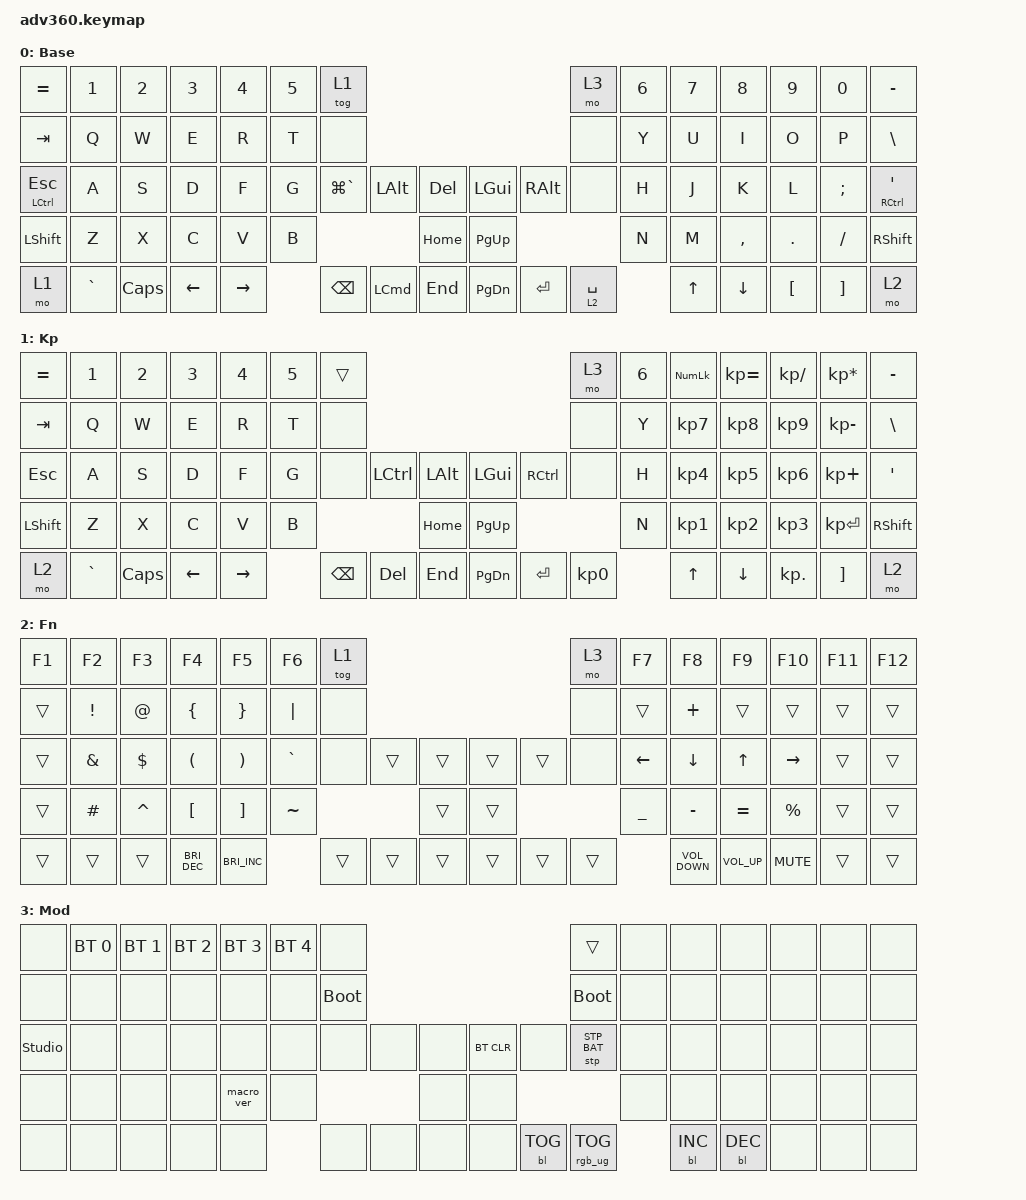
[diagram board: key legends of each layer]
#include <dt-bindings/zmk/stp.h>
#include <behaviors.dtsi>
#include <dt-bindings/zmk/backlight.h>
#include <dt-bindings/zmk/bt.h>
#include <dt-bindings/zmk/keys.h>
#include <dt-bindings/zmk/rgb.h>

&mt {
    tapping-term-ms = <210>;
    flavor = "tap-preferred";
};

&lt { quick-tap-ms = <200>; };

/ {
    behaviors {
        #include "macros.dtsi"
      #include "version.dtsi"

        hm: homerow_mods {
            compatible = "zmk,behavior-hold-tap";
            label = "HOMEROW_MODS";
            #binding-cells = <2>;
            tapping-term-ms = <200>;
            quick_tap_ms = <175>;
            flavor = "tap-preferred";
            bindings = <&kp>, <&kp>;
        };
    };

    combos {
        compatible = "zmk,combos";

        app-switcher {
            bindings = <&kp LG(TAB)>;
            key-positions = <32 31>;
            layers = <0>;
            timeout-ms = <40>;
            require-prior-idle-ms = <150>;
        };
    };

    keymap {
        compatible = "zmk,keymap";

        default_layer {
            display-name = "Base";
            bindings = <
&kp EQUAL             &kp N1     &kp N2    &kp N3    &kp N4     &kp N5  &tog 1                                                                     &mo 3        &kp N6  &kp N7  &kp N8     &kp N9    &kp N0    &kp MINUS
&kp TAB               &kp Q      &kp W     &kp E     &kp R      &kp T   &none                                                                      &none        &kp Y   &kp U   &kp I      &kp O     &kp P     &kp BSLH
&mt LEFT_CONTROL ESC  &kp A      &kp S     &kp D     &kp F      &kp G   &kp LG(GRAVE)  &kp LEFT_ALT      &kp DELETE      &kp LGUI   &kp RIGHT_ALT  &none        &kp H   &kp J   &kp K      &kp L     &kp SEMI  &mt RIGHT_CONTROL SINGLE_QUOTE
&kp LSHFT             &kp Z      &kp X     &kp C     &kp V      &kp B                                    &kp HOME        &kp PG_UP                              &kp N   &kp M   &kp COMMA  &kp DOT   &kp FSLH  &kp RSHFT
&mo 1                 &kp GRAVE  &kp CAPS  &kp LEFT  &kp RIGHT          &kp BSPC       &kp LEFT_COMMAND  &kp END         &kp PG_DN  &kp ENTER      &lt 2 SPACE          &kp UP  &kp DOWN   &kp LBKT  &kp RBKT  &mo 2
            >;
        };

        keypad {
            display-name = "Kp";
            bindings = <
&kp EQUAL  &kp N1     &kp N2    &kp N3    &kp N4     &kp N5  &trans                                                   &mo 3      &kp N6  &kp KP_NUM  &kp KP_EQUAL  &kp KP_DIVIDE  &kp KP_MULTIPLY  &kp MINUS
&kp TAB    &kp Q      &kp W     &kp E     &kp R      &kp T   &none                                                    &none      &kp Y   &kp KP_N7   &kp KP_N8     &kp KP_N9      &kp KP_MINUS     &kp BSLH
&kp ESC    &kp A      &kp S     &kp D     &kp F      &kp G   &none     &kp LCTRL  &kp LALT      &kp LGUI   &kp RCTRL  &none      &kp H   &kp KP_N4   &kp KP_N5     &kp KP_N6      &kp KP_PLUS      &kp SQT
&kp LSHFT  &kp Z      &kp X     &kp C     &kp V      &kp B                        &kp HOME      &kp PG_UP                        &kp N   &kp KP_N1   &kp KP_N2     &kp KP_N3      &kp KP_ENTER     &kp RSHFT
&mo 2      &kp GRAVE  &kp CAPS  &kp LEFT  &kp RIGHT          &kp BSPC  &kp DEL    &kp END       &kp PG_DN  &kp ENTER  &kp KP_N0          &kp UP      &kp DOWN      &kp KP_DOT     &kp RBKT         &mo 2
            >;
        };

        fn {
            display-name = "Fn";
            bindings = <
&kp F1  &kp F2         &kp F3      &kp F4                &kp F5                 &kp F6     &tog 1                                      &mo 3   &kp F7          &kp F8             &kp F9           &kp F10      &kp F11  &kp F12
&trans  &kp EXCL       &kp AT      &kp LEFT_BRACE        &kp RIGHT_BRACE        &kp PIPE   &none                                       &none   &trans          &kp PLUS           &trans           &trans       &trans   &trans
&trans  &kp AMPERSAND  &kp DOLLAR  &kp LEFT_PARENTHESIS  &kp RIGHT_PARENTHESIS  &kp GRAVE  &none   &trans  &trans      &trans  &trans  &none   &kp LEFT        &kp DOWN           &kp UP_ARROW     &kp RIGHT    &trans   &trans
&trans  &kp POUND      &kp CARET   &kp LEFT_BRACKET      &kp RIGHT_BRACKET      &kp TILDE                  &trans      &trans                  &kp UNDERSCORE  &kp MINUS          &kp EQUAL        &kp PERCENT  &trans   &trans
&trans  &trans         &trans      &kp C_BRIGHTNESS_DEC  &kp C_BRIGHTNESS_INC              &trans  &trans  &trans      &trans  &trans  &trans                  &kp C_VOLUME_DOWN  &kp C_VOLUME_UP  &kp C_MUTE   &trans   &trans
            >;
        };

        mod {
            display-name = "Mod";
            bindings = <
&none           &bt BT_SEL 0  &bt BT_SEL 1  &bt BT_SEL 2  &bt BT_SEL 3  &bt BT_SEL 4  &none                                                  &trans           &none  &none       &none       &none  &none  &none
&none           &none         &none         &none         &none         &none         &bootloader                                            &bootloader      &none  &none       &none       &none  &none  &none
&studio_unlock  &none         &none         &none         &none         &none         &none        &none  &none      &bt BT_CLR  &none       &stp STP_BAT     &none  &none       &none       &none  &none  &none
&none           &none         &none         &none         &macro_ver    &none                             &none      &none                                    &none  &none       &none       &none  &none  &none
&none           &none         &none         &none         &none                       &none        &none  &none      &none       &bl BL_TOG  &rgb_ug RGB_TOG         &bl BL_INC  &bl BL_DEC  &none  &none  &none
            >;
        };

        extra1 {
            display-name = "Red";
            status = "reserved";
        };

        extra2 {
            display-name = "Purple";
            status = "reserved";
        };

        extra3 {
            display-name = "Cyan";
            status = "reserved";
        };

        extra4 {
            display-name = "Yellow";
            status = "reserved";
        };
    };
};
